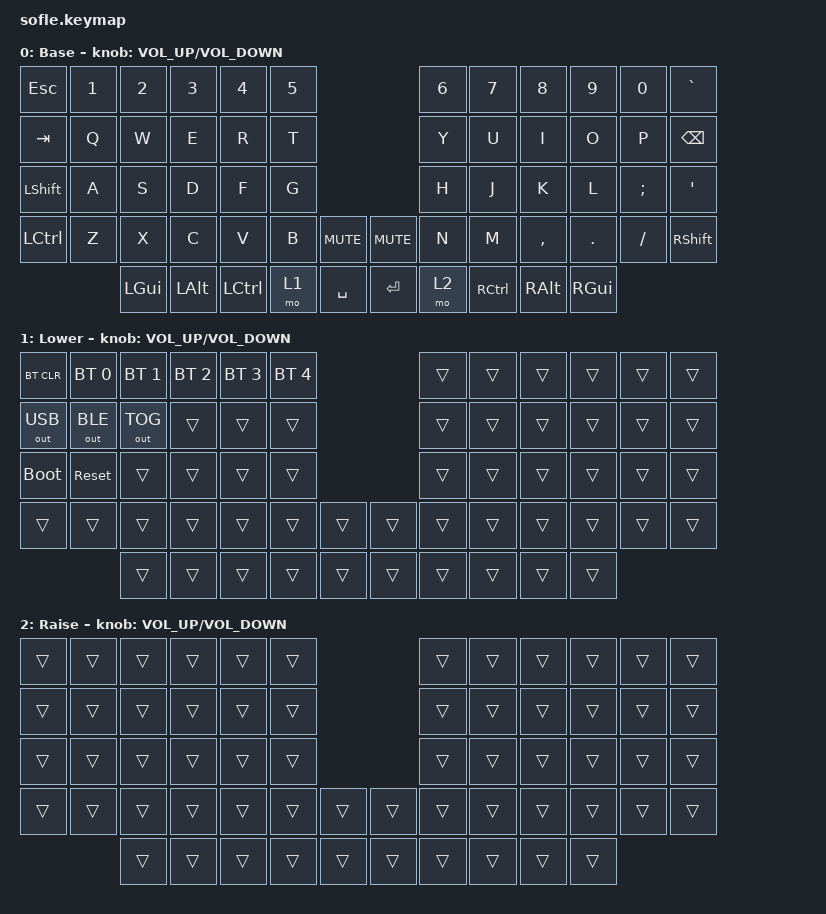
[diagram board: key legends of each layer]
#include <behaviors.dtsi>
#include <dt-bindings/zmk/keys.h>
#include <dt-bindings/zmk/bt.h>
#include <dt-bindings/zmk/outputs.h>

/ {
    keymap {
        compatible = "zmk,keymap";

        // Layer 0 - placeholder base layer (60 positions).
        default_layer {
            display-name = "Base";
            bindings = <
&kp ESC   &kp N1 &kp N2   &kp N3   &kp N4    &kp N5                          &kp N6   &kp N7    &kp N8    &kp N9   &kp N0   &kp GRAVE
&kp TAB   &kp Q  &kp W    &kp E    &kp R     &kp T                           &kp Y    &kp U     &kp I     &kp O    &kp P    &kp BSPC
&kp LSHFT &kp A  &kp S    &kp D    &kp F     &kp G                           &kp H    &kp J     &kp K     &kp L    &kp SEMI &kp SQT
&kp LCTRL &kp Z  &kp X    &kp C    &kp V     &kp B   &kp C_MUTE   &kp C_MUTE  &kp N    &kp M     &kp COMMA &kp DOT  &kp FSLH &kp RSHFT
                 &kp LGUI &kp LALT &kp LCTRL &mo 1   &kp SPACE    &kp RET     &mo 2    &kp RCTRL &kp RALT  &kp RGUI
            >;
            sensor-bindings = <&inc_dec_kp C_VOLUME_UP C_VOLUME_DOWN>;
        };

        // Layer 1 - hold the left-thumb key (&mo 1) to reach these.
        // Everything here is on the LEFT half, so it works over USB with
        // only the left side plugged in.
        //   BT_CLR  : clear the pairing on the CURRENT profile
        //   BT_SEL n: switch to Bluetooth profile n (0-4)
        //   OUT_USB / OUT_BLE / OUT_TOG: force where keystrokes are sent
        //   bootloader / sys_reset: flash / reboot helpers
        lower_layer {
            display-name = "Lower";
            bindings = <
&bt BT_CLR   &bt BT_SEL 0 &bt BT_SEL 1 &bt BT_SEL 2 &bt BT_SEL 3 &bt BT_SEL 4                 &trans &trans &trans &trans &trans &trans
&out OUT_USB &out OUT_BLE &out OUT_TOG &trans       &trans       &trans                       &trans &trans &trans &trans &trans &trans
&bootloader  &sys_reset   &trans       &trans       &trans       &trans                       &trans &trans &trans &trans &trans &trans
&trans       &trans       &trans       &trans       &trans       &trans  &trans     &trans     &trans &trans &trans &trans &trans &trans
                          &trans       &trans       &trans       &trans  &trans     &trans     &trans &trans &trans &trans
            >;
            sensor-bindings = <&inc_dec_kp C_VOLUME_UP C_VOLUME_DOWN>;
        };

        // Layer 2 - placeholder so &mo 2 has somewhere to go.
        raise_layer {
            display-name = "Raise";
            bindings = <
&trans &trans &trans &trans &trans &trans                 &trans &trans &trans &trans &trans &trans
&trans &trans &trans &trans &trans &trans                 &trans &trans &trans &trans &trans &trans
&trans &trans &trans &trans &trans &trans                 &trans &trans &trans &trans &trans &trans
&trans &trans &trans &trans &trans &trans &trans   &trans &trans &trans &trans &trans &trans &trans
              &trans &trans &trans &trans &trans   &trans &trans &trans &trans &trans
            >;
            sensor-bindings = <&inc_dec_kp C_VOLUME_UP C_VOLUME_DOWN>;
        };
    };
};
